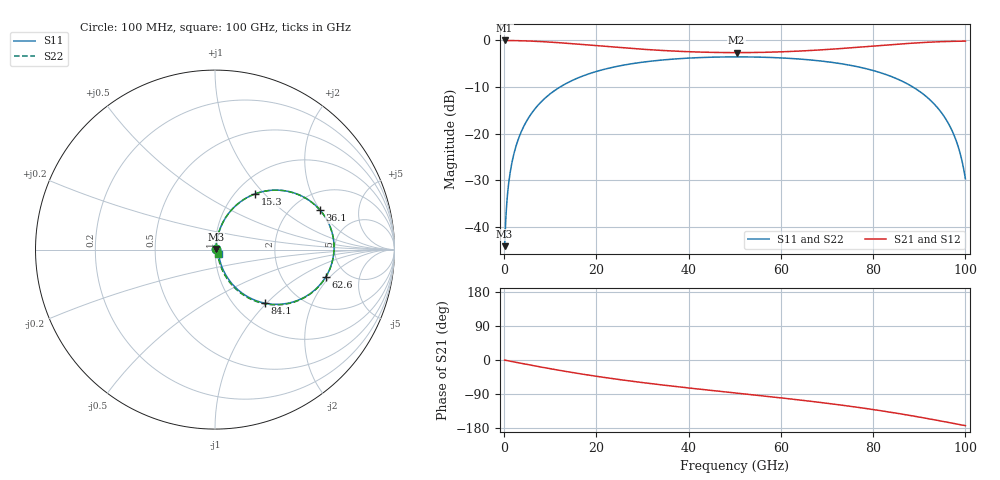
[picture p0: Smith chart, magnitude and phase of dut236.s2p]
! Touchstone file exported from HFSS 2026.1.0
!  File:  C:/ffzhzh/LocalFiles/Ansys_Project_Files/temp_train_RDL_236_1783501255_44152.aedt
!  Generated:  05:02:08 PM Jul  8, 2026
!  Design:  RDL
!  Project:  temp_train_RDL_236_1783501255_44152
! Variables:
!  h_bsmrdl = 2um
!  h_ox = 20um
!  h_rdl = 5um
!  h_sub = 80um
!  h_tmrdl = 2.1um
!  h_tsv = 80um
!  h_via = 3um
!  l_bsmrdl = 300um
!  l_sub = 961.71um
!  l_tmrdl = 561.71um
!  m_sub = 200um
!  pitch = 54.63um
!  r_tsv = 6um
!  s_tmrdl = 10um
!  w_bsmrdl = 18um
!  w_sub = 500um
!  w_tmrdl = 18.09um
!  x_tsv_center1 = 570.755um
!  x_tsv_center2 = 888.755um
!  x_tsv_center3 = 1468.555um
!  x_tsv_center4 = 1786.555um
!  x_tsv_center5 = 2366.355um
!  x_tsv_center6 = 2684.355um
# GHz S MA R 50.000000
! Terminal data exported
! Port[1] = TM_RDL1_1_T1
! Port[2] = TM_RDL1_1_T2
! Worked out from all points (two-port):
!   1000 points, 100 MHz to 100 GHz, reference 50 ohm
!   highest |S21| = -0.05 dB at 100 MHz (marker M1); lowest = -2.7 dB at 50.4 GHz (marker M2)
!   |S21| within 3 dB of the highest: start of sweep to end of sweep
!   lowest |S11| = -44.1 dB at 100 MHz (marker M3), VSWR 1.01, Z = 50.5 + j0.307 ohm
!   |S11| at or under -10 dB: start of sweep to 12.14 GHz; 88.59 GHz to end of sweep
!   |S22| runs from -44.1 to -3.6 dB; largest |S21 - S12| = 1.7e-14
!   S11 on the Smith chart (normalised r, x): 100 MHz: 1.01, +0.01; 15.3 GHz: 1.22, +0.88; 36.1 GHz: 2.76, +2.00; 62.6 GHz: 3.54, -1.78; 84.1 GHz: 1.36, -0.97; 100 GHz: 1.04, -0.05
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0.1  0.00624 29.1  0.9946 -0.3  0.9946 -0.3  0.00624 29.1
! Gamma 0 0 0 0
! Port Impedance 50 0 50 0
0.9  0.02714 74.2  0.9932 -2.2  0.9932 -2.2  0.02714 74.2
1.5  0.04373 77.4  0.9922 -3.6  0.9922 -3.6  0.04373 77.4
2.5  0.07143 78.3  0.9903 -5.9  0.9903 -5.9  0.07143 78.3
3.9  0.11 76.9  0.9865 -9.2  0.9865 -9.2  0.11 76.9
8.4  0.2283 68.4  0.9651 -19.5  0.9651 -19.5  0.2283 68.3
15.3  0.3815 54.4  0.9139 -34.1  0.9139 -34.1  0.3815 54.3
16.8  0.4096 51.5  0.9015 -37.0  0.9015 -37.0  0.4096 51.5
24.3  0.5227 38.3  0.8407 -50.5  0.8407 -50.5  0.5227 38.2
33.4  0.6085 24.4  0.7817 -64.6  0.7817 -64.6  0.6086 24.3
36.1  0.6253 20.6  0.7686 -68.5  0.7686 -68.5  0.6254 20.5
50.1  0.6636 2.5  0.7369 -87.0  0.7369 -87.0  0.6637 2.3
50.4  0.6636 2.1  0.7369 -87.4  0.7369 -87.4  0.6637 1.9
62.6  0.6362 -13.6  0.76 -103.5  0.76 -103.5  0.6363 -13.9
66.7  0.6133 -19.3  0.7779 -109.3  0.7779 -109.3  0.6133 -19.6
75.9  0.5292 -33.1  0.8348 -123.6  0.8348 -123.6  0.5292 -33.5
83.4  0.4186 -45.9  0.8922 -137.1  0.8922 -137.1  0.4186 -46.5
84.1  0.4061 -47.2  0.8976 -138.5  0.8976 -138.5  0.4061 -47.8
90.3  0.278 -58.7  0.942 -151.3  0.942 -151.3  0.2779 -59.7
94.9  0.1654 -66.4  0.9659 -161.5  0.9659 -161.5  0.1651 -68.1
97.9  0.0868 -67.8  0.9749 -168.4  0.9749 -168.4  0.08608 -71.1
100  0.03286 -52.6  0.9774 -173.3  0.9774 -173.3  0.03064 -60.9
